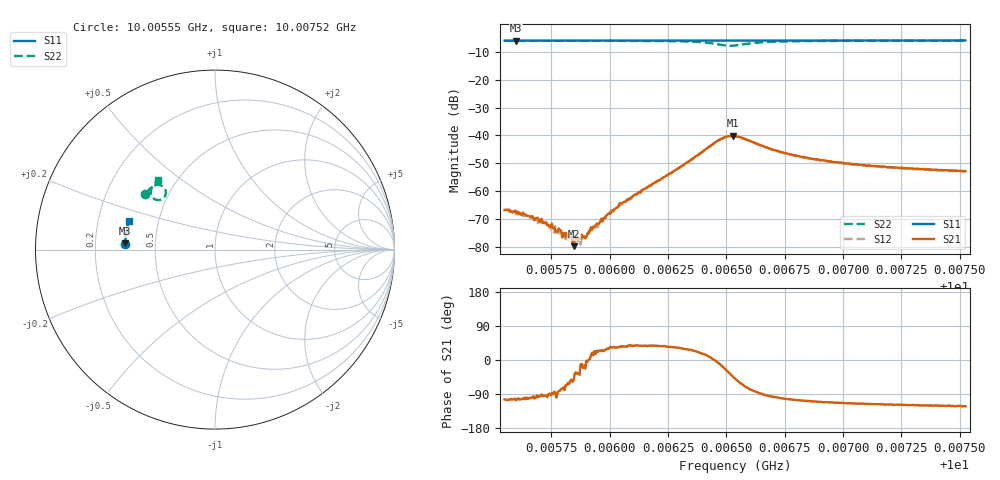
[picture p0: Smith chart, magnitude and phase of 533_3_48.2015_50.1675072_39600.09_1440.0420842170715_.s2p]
#  HZ  S  RI  R  50.00
! Rohde & Schwarz Vector Network Analyzer
! Rohde-Schwarz,ZNB20-2Port,1311601062101988,3.16
! Created: UTC 3/20/2024, 11:59:58 AM
! freq[Hz]  re:S11  im:S11  re:S21  im:S21  re:S12  im:S12  re:S22  im:S22
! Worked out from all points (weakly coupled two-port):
!   401 points, 10.00555 GHz to 10.00752 GHz, reference 50 ohm
!   highest |S21| = -40.12 dB at 10.00653 GHz (marker M1); lowest = -79.7 dB at 10.00585 GHz (marker M2)
!   lowest |S11| = -6.0 dB at 10.0056 GHz (marker M3), VSWR 3.01, Z = 16.6 + j1.58 ohm
!   |S11| at or under -10 dB: nowhere
!   |S22| runs from -7.8 to -6.0 dB; largest |S21 - S12| = 0.00061
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1.000555e10  -0.5002 0.0322  -0.000111 -0.000444  -0.000112 -0.000471  -0.3886 0.3092
1.0005599e10  -0.5 0.0356  -0.000114 -0.000392  -8.08e-05 -0.000401  -0.3865 0.3121
1.0005698e10  -0.4998 0.0421  -2.9e-05 -0.000298  3.78e-06 -0.0003  -0.3819 0.3182
1.0005722e10  -0.4997 0.0437  -1.92e-05 -0.000267  -8.8e-06 -0.00027  -0.3808 0.3196
1.0005752e10  -0.4996 0.0456  1.29e-05 -0.000261  3.75e-05 -0.000232  -0.3793 0.3214
1.0005777e10  -0.4995 0.0471  1.71e-05 -0.00019  6.92e-05 -0.000183  -0.378 0.3229
1.0005816e10  -0.4994 0.0498  7.31e-05 -0.000164  7.47e-05 -0.000147  -0.3759 0.3254
1.0005846e10  -0.4992 0.0517  6.39e-05 -8.13e-05  8.73e-05 -0.000105  -0.3744 0.3271
1.0005866e10  -0.4992 0.0529  0.000106 -7.61e-05  0.000132 -5.5e-05  -0.3733 0.3286
1.000588e10  -0.499 0.0538  0.00016 -2.92e-05  0.000168 -2.48e-05  -0.3725 0.3294
1.00059e10  -0.499 0.0552  0.000152 -4.58e-06  0.000163 8.84e-06  -0.3713 0.3306
1.000594e10  -0.4988 0.0577  0.000236 6.89e-05  0.000221 8.16e-05  -0.3689 0.3332
1.0005999e10  -0.4984 0.0617  0.000335 0.00021  0.000339 0.000241  -0.3651 0.3373
1.0006048e10  -0.4982 0.0647  0.000474 0.000356  0.000469 0.000359  -0.3617 0.3406
1.0006211e10  -0.4968 0.0754  0.00125 0.000926  0.00122 0.000988  -0.3462 0.3524
1.0006463e10  -0.4939 0.0912  0.008 -0.000927  0.00783 -0.000452  -0.276 0.3323
1.0006527e10  -0.4932 0.095  0.00718 -0.00675  0.0074 -0.00622  -0.2937 0.2819
1.0006537e10  -0.4932 0.0955  0.00638 -0.00735  0.00669 -0.00683  -0.3018 0.278
1.00067e10  -0.4922 0.1058  -0.000692 -0.00551  -0.000391 -0.00546  -0.3581 0.3186
1.0006868e10  -0.4902 0.1167  -0.00126 -0.00363  -0.00106 -0.0036  -0.3517 0.3459
1.0007198e10  -0.4855 0.1375  -0.00126 -0.00238  -0.00112 -0.00244  -0.3334 0.3719
1.0007524e10  -0.48 0.1579  -0.00122 -0.00194  -0.00109 -0.00192  -0.3162 0.3896
